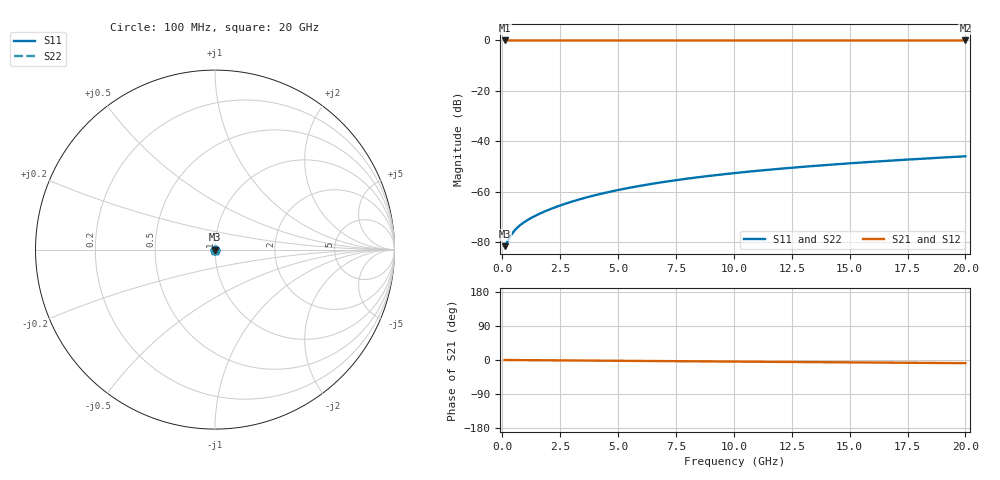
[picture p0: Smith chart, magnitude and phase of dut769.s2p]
! Touchstone file exported from HFSS 2026.1.0
!  File:  C:/ffzhzh/LocalFiles/Ansys_Project_Files/temp_train_TSV_769_1783183410_22436.aedt
!  Generated:  12:44:50 AM Jul  5, 2026
!  Design:  TSV
!  Project:  temp_train_TSV_769_1783183410_22436
! Variables:
!  h_bsmrdl = 2um
!  h_ox = 20um
!  h_rdl = 5um
!  h_sub = 82.2um
!  h_tmrdl = 5um
!  h_tsv = 82.2um
!  h_via = 3um
!  l_bsmrdl = 300um
!  l_sub = 427.32um
!  l_tmrdl = 200um
!  m_sub = 200um
!  pitch = 52.64um
!  r_tsv = 13.66um
!  s_tmrdl = 10um
!  w_bsmrdl = 18um
!  w_sub = 500um
!  w_tmrdl = 12um
!  x_tsv_center1 = 206um
!  x_tsv_center2 = 524um
!  x_tsv_center3 = 736um
!  x_tsv_center4 = 1054um
!  x_tsv_center5 = 1266um
!  x_tsv_center6 = 1584um
# GHz S MA R 50.000000
! Terminal data exported
! Port[1] = TSV1_1_T1
! Port[2] = TSV1_1_T2
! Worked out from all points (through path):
!   200 points, 100 MHz to 20 GHz, reference 50 ohm
!   highest |S21| = 0.00 dB at 100 MHz (marker M1); lowest = 0.0 dB at 20 GHz (marker M2)
!   group delay of S21, straight-line fit = 1.15 ps
!   lowest |S11| = -81.5 dB at 100 MHz (marker M3), VSWR 1.00, Z = 50 + j0.00172 ohm
!   |S11| at or under -10 dB: start of sweep to end of sweep
!   |S22| runs from -81.5 to -45.9 dB; largest |S21 - S12| = 3.6e-15
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0.1  8.397e-05 11.8  0.9999 -0.0  0.9999 -0.0  8.397e-05 11.8
! Gamma 0 0 0 0
! Port Impedance 50 0 50 0
0.2  0.0001005 17.9  0.9999 -0.1  0.9999 -0.1  0.0001005 17.9
0.3  0.0001215 18.5  0.9999 -0.1  0.9999 -0.1  0.0001215 18.5
0.4  0.0001436 15.9  0.9999 -0.2  0.9999 -0.2  0.0001436 15.9
0.5  0.0001652 11.7  0.9998 -0.2  0.9998 -0.2  0.0001652 11.7
0.7  0.0002056 2.1  0.9998 -0.3  0.9998 -0.3  0.0002056 2.1
0.9  0.0002429 -7.2  0.9998 -0.4  0.9998 -0.4  0.0002429 -7.2
1.2  0.0002961 -18.8  0.9997 -0.5  0.9997 -0.5  0.0002961 -18.8
1.7  0.0003852 -32.8  0.9997 -0.7  0.9997 -0.7  0.0003852 -32.8
2.2  0.0004788 -42.0  0.9996 -0.9  0.9996 -0.9  0.0004788 -42.0
2.8  0.0005981 -49.5  0.9996 -1.2  0.9996 -1.2  0.0005981 -49.5
3.5  0.000746 -55.4  0.9996 -1.5  0.9996 -1.5  0.000746 -55.4
4.2  0.0009019 -59.6  0.9995 -1.8  0.9995 -1.8  0.0009018 -59.6
5  0.001088 -63.2  0.9995 -2.1  0.9995 -2.1  0.001088 -63.2
5.9  0.001305 -66.4  0.9994 -2.5  0.9994 -2.5  0.001305 -66.4
6.8  0.001528 -69.0  0.9994 -2.8  0.9994 -2.8  0.001528 -69.0
8.3  0.001908 -72.5  0.9993 -3.5  0.9993 -3.5  0.001908 -72.5
10.1  0.002375 -75.8  0.9992 -4.2  0.9992 -4.2  0.002375 -75.8
11.7  0.002795 -78.1  0.9992 -4.9  0.9992 -4.9  0.002795 -78.1
13.4  0.003248 -80.2  0.9991 -5.6  0.9991 -5.6  0.003247 -80.2
16.7  0.004143 -83.5  0.999 -7.0  0.999 -7.0  0.004143 -83.6
20  0.005067 -86.2  0.9989 -8.3  0.9989 -8.3  0.005066 -86.2
